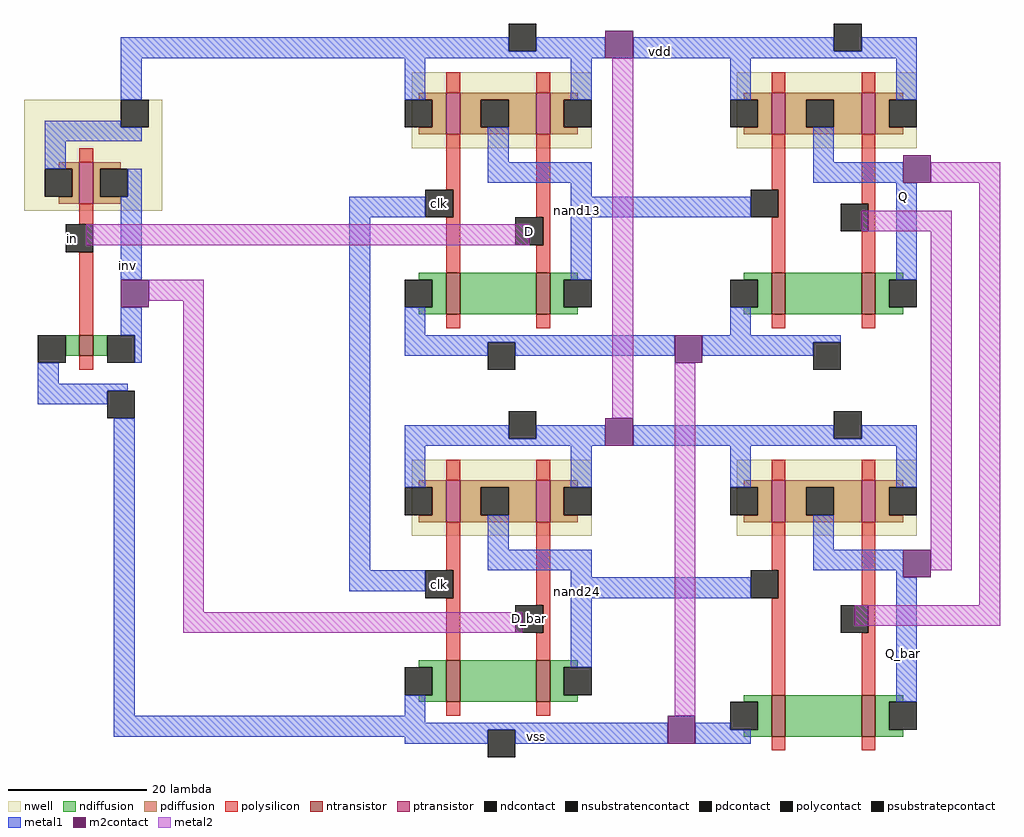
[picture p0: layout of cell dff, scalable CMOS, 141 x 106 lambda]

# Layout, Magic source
magic
tech scmos
<< nwell >>
rect -55 79 -35 95
rect 1 88 27 99
rect 48 88 74 99
rect 1 32 27 43
rect 48 32 74 43
<< polysilicon >>
rect 6 96 8 99
rect 19 96 21 99
rect 53 96 55 99
rect 66 96 68 99
rect -47 86 -45 88
rect 6 82 8 90
rect -47 77 -45 80
rect 7 78 8 82
rect 19 78 21 90
rect 53 82 55 90
rect 54 78 55 82
rect 66 80 68 90
rect -47 61 -45 73
rect 6 70 8 78
rect 20 74 21 78
rect 19 70 21 74
rect 53 70 55 78
rect 67 76 68 80
rect 66 70 68 76
rect 6 62 8 64
rect 19 62 21 64
rect 53 62 55 64
rect 66 62 68 64
rect -47 56 -45 58
rect 6 40 8 43
rect 19 40 21 43
rect 53 40 55 43
rect 66 40 68 43
rect 6 27 8 34
rect 7 23 8 27
rect 6 14 8 23
rect 19 22 21 34
rect 53 27 55 34
rect 54 23 55 27
rect 20 18 21 22
rect 19 14 21 18
rect 53 9 55 23
rect 66 22 68 34
rect 67 18 68 22
rect 66 9 68 18
rect 6 6 8 8
rect 19 6 21 8
rect 53 1 55 3
rect 66 1 68 3
<< ndiffusion >>
rect 2 69 6 70
rect 4 65 6 69
rect 2 64 6 65
rect 8 64 19 70
rect 21 69 25 70
rect 49 69 53 70
rect 21 65 23 69
rect 51 65 53 69
rect 21 64 25 65
rect 49 64 53 65
rect 55 64 66 70
rect 68 69 72 70
rect 68 65 70 69
rect 68 64 72 65
rect -49 58 -47 61
rect -45 58 -43 61
rect 2 13 6 14
rect 4 9 6 13
rect 2 8 6 9
rect 8 8 19 14
rect 21 13 25 14
rect 21 9 23 13
rect 21 8 25 9
rect 49 8 53 9
rect 51 4 53 8
rect 49 3 53 4
rect 55 3 66 9
rect 68 8 72 9
rect 68 4 70 8
rect 68 3 72 4
<< pdiffusion >>
rect 2 95 6 96
rect 4 91 6 95
rect 2 90 6 91
rect 8 95 19 96
rect 8 91 11 95
rect 15 91 19 95
rect 8 90 19 91
rect 21 95 25 96
rect 49 95 53 96
rect 21 91 23 95
rect 51 91 53 95
rect 21 90 25 91
rect 49 90 53 91
rect 55 95 66 96
rect 55 91 58 95
rect 62 91 66 95
rect 55 90 66 91
rect 68 95 72 96
rect 68 91 70 95
rect 68 90 72 91
rect -50 85 -47 86
rect -48 81 -47 85
rect -50 80 -47 81
rect -45 85 -41 86
rect -45 81 -44 85
rect -45 80 -41 81
rect 2 39 6 40
rect 4 35 6 39
rect 2 34 6 35
rect 8 39 19 40
rect 8 35 11 39
rect 15 35 19 39
rect 8 34 19 35
rect 21 39 25 40
rect 49 39 53 40
rect 21 35 23 39
rect 51 35 53 39
rect 21 34 25 35
rect 49 34 53 35
rect 55 39 66 40
rect 55 35 58 39
rect 62 35 66 39
rect 55 34 66 35
rect 68 39 72 40
rect 68 35 70 39
rect 68 34 72 35
<< metal1 >>
rect -41 102 15 104
rect 19 102 29 104
rect -41 101 29 102
rect 33 102 62 104
rect 66 102 74 104
rect 33 101 74 102
rect -41 95 -38 101
rect 0 95 3 101
rect 24 95 27 101
rect -52 91 -41 92
rect 47 95 50 101
rect 71 95 74 101
rect -52 89 -38 91
rect -52 85 -49 89
rect 12 86 15 91
rect 59 86 62 91
rect -40 81 -38 85
rect 12 83 27 86
rect 59 83 72 86
rect -41 69 -38 81
rect -8 78 3 81
rect 24 81 27 83
rect 24 78 50 81
rect -41 61 -38 65
rect -39 57 -38 61
rect -53 54 -50 57
rect -53 53 -40 54
rect -53 51 -43 53
rect -42 6 -39 49
rect -8 27 -5 78
rect 24 69 27 78
rect 71 69 74 83
rect 0 61 3 65
rect 47 61 50 65
rect 0 60 39 61
rect 0 58 12 60
rect 16 58 39 60
rect 43 60 63 61
rect 43 58 59 60
rect 0 46 15 48
rect 19 46 29 48
rect 0 45 29 46
rect 33 46 62 48
rect 66 46 74 48
rect 33 45 74 46
rect 0 39 3 45
rect 24 39 27 45
rect 47 39 50 45
rect 71 39 74 45
rect 12 30 15 35
rect 59 30 62 35
rect 12 27 27 30
rect 59 27 72 30
rect -8 24 3 27
rect 24 26 27 27
rect 24 23 50 26
rect 71 26 72 27
rect 24 13 27 23
rect 0 6 3 9
rect 71 8 74 26
rect -42 5 3 6
rect -42 4 38 5
rect -42 3 12 4
rect 0 2 12 3
rect 16 2 38 4
rect 42 4 47 5
rect 42 2 50 4
<< metal2 >>
rect -46 74 18 77
rect -37 66 -29 69
rect -32 21 -29 66
rect 30 49 33 101
rect 76 83 86 86
rect 66 76 79 79
rect -32 18 17 21
rect 39 6 42 57
rect 76 27 79 76
rect 83 22 86 83
rect 65 19 86 22
<< ntransistor >>
rect 6 64 8 70
rect 19 64 21 70
rect 53 64 55 70
rect 66 64 68 70
rect -47 58 -45 61
rect 6 8 8 14
rect 19 8 21 14
rect 53 3 55 9
rect 66 3 68 9
<< ptransistor >>
rect 6 90 8 96
rect 19 90 21 96
rect 53 90 55 96
rect 66 90 68 96
rect -47 80 -45 86
rect 6 34 8 40
rect 19 34 21 40
rect 53 34 55 40
rect 66 34 68 40
<< polycontact >>
rect 3 78 7 82
rect 50 78 54 82
rect -49 73 -45 77
rect 16 74 20 78
rect 63 76 67 80
rect 3 23 7 27
rect 50 23 54 27
rect 16 18 20 22
rect 63 18 67 22
<< ndcontact >>
rect 0 65 4 69
rect 23 65 27 69
rect 47 65 51 69
rect 70 65 74 69
rect -53 57 -49 61
rect -43 57 -39 61
rect 0 9 4 13
rect 23 9 27 13
rect 47 4 51 8
rect 70 4 74 8
<< pdcontact >>
rect 0 91 4 95
rect 11 91 15 95
rect 23 91 27 95
rect 47 91 51 95
rect 58 91 62 95
rect 70 91 74 95
rect -52 81 -48 85
rect -44 81 -40 85
rect 0 35 4 39
rect 11 35 15 39
rect 23 35 27 39
rect 47 35 51 39
rect 58 35 62 39
rect 70 35 74 39
<< m2contact >>
rect 29 101 33 105
rect 72 83 76 87
rect -41 65 -37 69
rect 39 57 43 61
rect 29 45 33 49
rect 72 26 76 30
rect 38 2 42 6
<< psubstratepcontact >>
rect 12 56 16 60
rect 59 56 63 60
rect -43 49 -39 53
rect 12 0 16 4
<< nsubstratencontact >>
rect 15 102 19 106
rect 62 102 66 106
rect -41 91 -37 95
rect 15 46 19 50
rect 62 46 66 50
<< labels >>
rlabel polycontact 18 20 18 20 1 D_bar
rlabel polycontact 5 80 5 80 1 clk
rlabel polycontact 5 25 5 25 1 clk
rlabel polycontact -48 75 -48 75 3 in
rlabel metal2 18 76 18 76 1 D
rlabel metal1 25 79 25 79 3 nand13
rlabel metal1 25 24 25 24 3 nand24
rlabel metal1 37 102 37 102 1 vdd
rlabel metal1 19 3 19 3 3 vss
rlabel metal1 72 15 72 15 3 Q_bar
rlabel metal1 72 81 72 81 3 Q
rlabel metal1 -40 71 -40 71 1 inv
<< end >>
